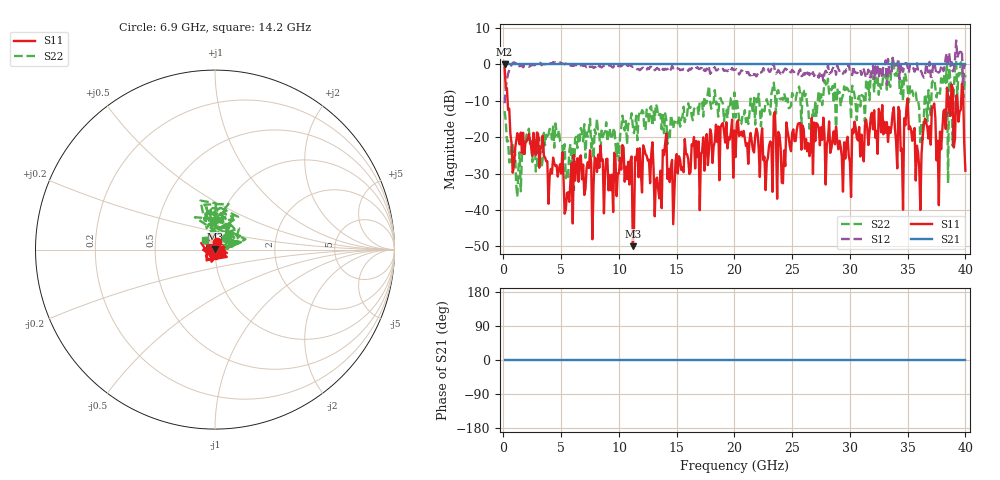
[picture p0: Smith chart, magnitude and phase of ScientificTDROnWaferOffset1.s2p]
# MHz MA S R 50.0
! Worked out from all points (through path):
!   400 points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, 100 MHz to 40 GHz, reference 50 ohm
!   highest |S21| = 0.00 dB at 100 MHz (marker M1); lowest = 0.0 dB at 100 MHz (marker M2)
!   lowest |S11| = -50.0 dB at 11.2 GHz (marker M3), VSWR 1.01, Z = 50.2 + j0.24 ohm
!   |S11| at or under -10 dB: 358.2 MHz to 34.97 GHz (34.62 GHz wide, 196 % of centre); 35.01 GHz to 38.37 GHz (3.361 GHz wide, 9.16 % of centre); 39.32 GHz to 39.64 GHz (315.6 MHz wide, 0.799 % of centre) (the widest 3 of 6)
!   |S22| runs from -36.4 to 1.7 dB; largest |S21 - S12| = 2.6
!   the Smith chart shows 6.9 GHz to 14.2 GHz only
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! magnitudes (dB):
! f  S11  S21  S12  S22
! 100 MHz  -0.9  0.0  -10.7  -12.8
! 800 MHz  -29.8  0.0  0.4  -21.7
! 6.8 GHz  -31.6  0.0  -0.2  -18.6
! 11.1 GHz  -25.3  0.0  -0.5  -13.4
! 11.2 GHz  -50.0  0.0  -0.7  -17.0
! 11.6 GHz  -23.2  0.0  -1.3  -20.9
! 13.4 GHz  -34.3  0.0  -1.2  -14.3
! 20.1 GHz  -25.5  0.0  -1.5  -14.6
! 26.7 GHz  -14.7  0.0  -2.9  -15.0
! 30.1 GHz  -36.4  0.0  -2.3  -15.1
! 33.4 GHz  -17.2  0.0  -1.6  -5.6
! 34.3 GHz  -12.8  0.0  -4.1  -6.7
! 34.6 GHz  -40.0  0.0  -2.0  -10.1
! 35 GHz  -9.3  0.0  -0.8  -6.5
! 36.1 GHz  -40.0  0.0  -1.6  -21.4
! 37.3 GHz  -10.7  0.0  0.6  -4.1
! 37.7 GHz  -38.7  0.0  -2.2  -7.1
! 38.4 GHz  -6.4  0.0  3.1  0.4
! 38.5 GHz  -8.8  0.0  -0.7  -32.6
! 38.6 GHz  -12.7  0.0  3.2  -1.0
! 38.9 GHz  -6.4  0.0  -1.9  -22.4
! 40 GHz  -29.2  0.0  0.2  -2.9
